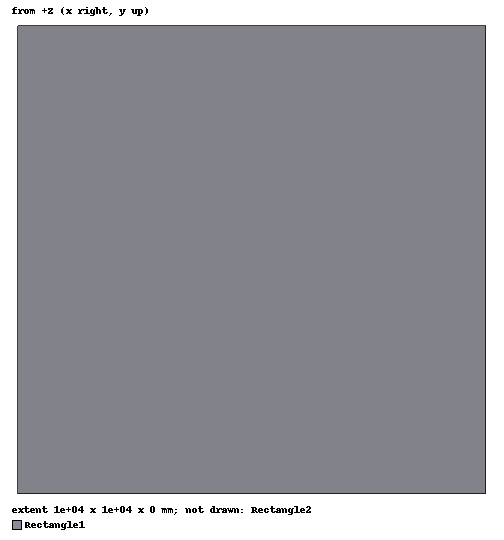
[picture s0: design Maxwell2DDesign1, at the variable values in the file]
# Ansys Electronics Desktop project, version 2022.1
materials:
  vacuum: permittivity=1
  iron: permeability=4000 conductivity=10300000

design Maxwell2DDesign1 (Maxwell 2D, Electrostatic, XY geometry, model units mm)
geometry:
  Rectangle1 [iron] = rectangle(corner=(0mm, 0mm, 0mm), x_size=10000mm, y_size=10000mm)
  Rectangle2 [vacuum] = rectangle(corner=(-100mm, -100mm, 0mm), x_size=10100mm, y_size=10100mm)
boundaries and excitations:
  Voltage1: Voltage Edges=Rectangle1.edge(y at corner, x at corner) Value=100V
  Voltage2: Voltage Edges=Rectangle2.edge(y at corner, x at corner) Value=0V
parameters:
  Matrix1: Matrix Voltage1: NumberOfTurns=1
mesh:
  initial mesh: MeshMethod=AnsoftTAU
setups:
  Setup1: Electrostatic MaximumPasses=10 MinimumPasses=2 MinimumConvergedPasses=1 PercentRefinement=30 PercentError=1 NonLinearResidual=0.001
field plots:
  Voltage1: Voltage over Rectangle2 on Setup1 : LastAdaptive
